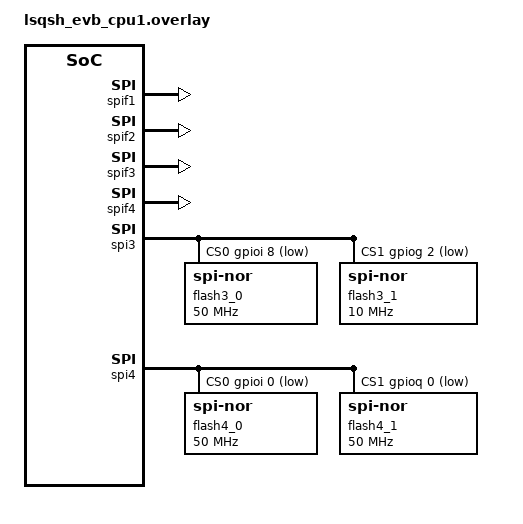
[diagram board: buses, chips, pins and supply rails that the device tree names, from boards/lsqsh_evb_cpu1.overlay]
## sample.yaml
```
sample:
  description: DesignWare SPI RX sample delay calibration on two SPI NOR
    flashes sharing one controller
  name: spi master calibration test
common:
  tags:
    - spi
    - flash
  platform_allow:
    - lsqsh_evb/lsqsh/cpu1
  integration_platforms:
    - lsqsh_evb/lsqsh/cpu1
  harness: console
  harness_config:
    type: multi_line
    ordered: true
    regex:
      - "\\[after spif3 read\\] calib value: slave=0 rx_sample_dly=[0-4]"
      - "\\[after spif4 read\\] calib value: slave=1 rx_sample_dly=[0-4]"
      - "all test pass"
tests:
  sample.drivers.spi.master_cali_test:
    tags:
      - spi
```

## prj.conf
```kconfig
CONFIG_SPI_FILTER_LINKEDSEMI=y
CONFIG_SPI=y
CONFIG_FLASH=y
# CONFIG_LOG_MODE_IMMEDIATE=y
CONFIG_SHELL=n
CONFIG_FLASH_SHELL=y
CONFIG_DMA=y

CONFIG_LOG=y
CONFIG_LOG_BUFFER_SIZE=65536
CONFIG_SHELL_BACKEND_SERIAL_LOG_MESSAGE_QUEUE_SIZE=40960
# CONFIG_LOG=n
# CONFIG_LOG_BUFFER_SIZE=1024
# CONFIG_SHELL_BACKEND_SERIAL_LOG_MESSAGE_QUEUE_SIZE=1024

# CONFIG_LOG_MODE_DEFERRED=n
# CONFIG_LOG_MODE_IMMEDIATE=y

CONFIG_FLASH_JESD216_API=y
CONFIG_SPI_EXTENDED_MODES=y

CONFIG_MAIN_STACK_SIZE=10240

CONFIG_IDLE_STACK_SIZE=512
CONFIG_TEST_EXTRA_STACK_SIZE=1536
CONFIG_SYSTEM_WORKQUEUE_STACK_SIZE=8192
CONFIG_ISR_STACK_SIZE=4096
CONFIG_PRIVILEGED_STACK_SIZE=4096
CONFIG_SHELL_STACK_SIZE=4096
CONFIG_LOG_PROCESS_THREAD_STACK_SIZE=4096

CONFIG_SPI_FILTER_INTERRUPT_LOG=n
CONFIG_SPI_FILTER_DMA_LOG=y

CONFIG_BUILD_OUTPUT_HEX=y#hex

CONFIG_LOG_MODE_DEFERRED=n
CONFIG_LOG_MODE_IMMEDIATE=y
CONFIG_LINKEDSEMI_ZEPHYR_UTIL_CMD_REBOOT=y

CONFIG_HW_STACK_PROTECTION=y
CONFIG_PMP_STACK_GUARD_MIN_SIZE=4096
```

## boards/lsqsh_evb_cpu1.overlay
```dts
#include "lsqsh_pinctrl_pfr_tpm.dtsi"

/ {
    aliases {
#if 1
        spifilter = &spif3;
        spifiltermaster = &spif1;
        //spiflash = &flash3_0;
        spiflash = &flash4_0;//spif3flash
        spifiltermaster2 = &spif4;
        spiflash2 = &flash4_1;//spif4flash
#endif
#if 0
        spifilter = &spif2;
        spifiltermaster = &spif4;
        spiflash = &flash4_1;
#endif
    };
};

&spif1 {
    status = "okay";
};

&spif2 {
    status = "okay";
};

&spif3 {
    cmd-page-program-quad-addr-quad-data =<0xc2>;
    cmd-quad-spi-mode-enter = <0x38>;
    cmd-quad-spi-mode-exit = <0xff>;
    status = "okay";
};

&spif4 {
    cmd-page-program-quad-addr-quad-data =<0xc2>;
    cmd-quad-spi-mode-enter = <0x38>;
    cmd-quad-spi-mode-exit = <0xff>;
    status = "okay";
};

&spi3 {
    cs-gpios = <&gpioi 8 GPIO_ACTIVE_LOW>,
                <&gpiog 2 GPIO_ACTIVE_LOW>;
    pinctrl-0 = <>;
    pinctrl-names = "default";
    //timing-calibration-disabled;
    dmas =<&dmac2 6 DMA_SPI3_RX>,<&dmac2 6 DMA_SPI3_TX>;
    dma-names ="rx","tx";
    status = "okay";

    flash3_0: flash3@0 {
        compatible = "jedec,spi-nor";
        reg = <0>;
        spi-max-frequency = <DT_FREQ_M(50)>;
        spi-max-buswidth = <4>;
        //spi-nor-caps-mask=<0x40000>;
        re-init-support;
    };
    flash3_1: flash3@1 {
        compatible = "jedec,spi-nor";
        reg = <1>;
        spi-max-frequency = <DT_FREQ_M(10)>;
        spi-max-buswidth = <4>;
        re-init-support;
    };
};

&spi4 {
    cs-gpios = <&gpioi 0 GPIO_ACTIVE_LOW>,
                <&gpioq 0 GPIO_ACTIVE_LOW>;
    pinctrl-0 = <>;
    pinctrl-names = "default";
    //timing-calibration-disabled;
    dmas =<&dmac2 6 DMA_SPI4_RX>,<&dmac2 6 DMA_SPI4_TX>;
    dma-names ="rx","tx";
    status = "okay";

    flash4_0: flash4@0 {
        compatible = "jedec,spi-nor";
        reg = <0>;
        spi-max-frequency = <DT_FREQ_M(50)>;
        spi-max-buswidth = <4>;
        re-init-support;
        status = "okay";
    };
    flash4_1: flash4@1 {
        compatible = "jedec,spi-nor";
        reg = <1>;
        spi-max-frequency = <DT_FREQ_M(50)>;
        spi-max-buswidth = <4>;
        re-init-support;
        status = "okay";
    };
};

&dmac1 {
    status = "okay";
};

&dmac2 {
    status = "okay";
};

#if 0
#undef SRAM_TOTAL_SIZE
#undef SRAM_RO_SIZE
#undef SRAM_RW_SIZE

#define SRAM_TOTAL_SIZE DT_SIZE_K(512 - 128)
#define SRAM_RO_SIZE    DT_SIZE_K(256 - 128)
#define SRAM_RW_SIZE    (SRAM_TOTAL_SIZE - SRAM_RO_SIZE)

&sram_ro {
    reg = <0x10020000 SRAM_RO_SIZE>;
};

&sram {
    reg = <(0x10020000 + SRAM_RO_SIZE) SRAM_RW_SIZE>;
};
#endif
```

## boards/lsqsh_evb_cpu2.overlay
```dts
#include "lsqsh_pinctrl_pfr_tpm.dtsi"

/ {
    aliases {
#if 1
        spifilter = &spif3;
        spifiltermaster = &spif1;
        //spiflash = &flash3_0;
        spiflash = &flash4_0;//spif3flash
#endif
#if 0
        spifilter = &spif2;
        spifiltermaster = &spif4;
        spiflash = &flash4_1;
#endif
    };
};

&chosen {
    zephyr,flash-controller = &qspi1;
    zephyr,console = &uart5;
    zephyr,shell-uart = &uart5;
};

&spif1 {
    status = "okay";
};

&spif2 {
    status = "okay";
};

&spif3 {
    cmd-page-program-quad-addr-quad-data =<0xc2>;
    cmd-quad-spi-mode-enter = <0x38>;
    cmd-quad-spi-mode-exit = <0xff>;
    status = "okay";
};

&spif4 {
    cmd-page-program-quad-addr-quad-data =<0xc2>;
    cmd-quad-spi-mode-enter = <0x38>;
    cmd-quad-spi-mode-exit = <0xff>;
    status = "okay";
};

&spi3 {
    cs-gpios = <&gpioi 8 GPIO_ACTIVE_LOW>,
                <&gpiog 2 GPIO_ACTIVE_LOW>;
    pinctrl-0 = <>;
    pinctrl-names = "default";
    //timing-calibration-disabled;
    dmas =<&dmac2 6 DMA_SPI3_RX>,<&dmac2 6 DMA_SPI3_TX>;
    dma-names ="rx","tx";
    status = "okay";

    flash3_0: flash3@0 {
        compatible = "jedec,spi-nor";
        reg = <0>;
        spi-max-frequency = <DT_FREQ_M(50)>;
        spi-max-buswidth = <4>;
        //spi-nor-caps-mask=<0x40000>;
        re-init-support;
    };
    flash3_1: flash3@1 {
        compatible = "jedec,spi-nor";
        reg = <1>;
        spi-max-frequency = <DT_FREQ_M(10)>;
        spi-max-buswidth = <4>;
        re-init-support;
    };
};

&spi4 {
    cs-gpios = <&gpioi 0 GPIO_ACTIVE_LOW>,
                <&gpioq 0 GPIO_ACTIVE_LOW>;
    pinctrl-0 = <>;
    pinctrl-names = "default";
    timing-calibration-disabled;
    dmas =<&dmac2 6 DMA_SPI4_RX>,<&dmac2 6 DMA_SPI4_TX>;
    dma-names ="rx","tx";
    status = "okay";

    flash4_0: flash4@0 {
        compatible = "jedec,spi-nor";
        reg = <0>;
        spi-max-frequency = <DT_FREQ_M(10)>;
        spi-max-buswidth = <4>;
        re-init-support;
    };
    flash4_1: flash4@1 {
        compatible = "jedec,spi-nor";
        reg = <1>;
	spi-max-frequency = <50000>;
        spi-max-buswidth = <4>;
        re-init-support;
    };
};

&dmac1 {
    status = "okay";
};

&dmac2 {
    status = "okay";
};

&pinctrl {
	/omit-if-no-ref/uart4_tx_pd11: uart4_tx_pd11 {
	pinmux = <UART4_TXD_FUNC1_IDX09_PINMUX_PD(11)>;
};

	/omit-if-no-ref/uart4_rx_pd12: uart4_rx_pd12 {
	pinmux = <UART4_RXD_FUNC1_IDX10_PINMUX_PD(12)>;
	input-enable;
};
	/omit-if-no-ref/uart5_tx_pn14: uart5_tx_pn14 {
	pinmux = <UART5_TXD_FUNC4_PN14_PINMUX>;
};
	/omit-if-no-ref/uart5_rx_pn13: uart5_rx_pn13 {
	pinmux = <UART5_RXD_FUNC4_PN13_PINMUX>;
	input-enable;
};

};

&uart4 {
	status = "disabled";
	pinctrl-0 = <&uart4_tx_pd11 &uart4_rx_pd12>;
	pinctrl-names = "default";
};

#if 1
&uart5 {
	status = "okay";
	pinctrl-0 = <&uart5_tx_pn14 &uart5_rx_pn13>;
	pinctrl-names = "default";
};
#endif

#if 0
#undef SRAM_TOTAL_SIZE
#undef SRAM_RO_SIZE
#undef SRAM_RW_SIZE

#define SRAM_TOTAL_SIZE DT_SIZE_K(512 - 128)
#define SRAM_RO_SIZE    DT_SIZE_K(256 - 128)
#define SRAM_RW_SIZE    (SRAM_TOTAL_SIZE - SRAM_RO_SIZE)

&sram_ro {
    reg = <0x10020000 SRAM_RO_SIZE>;
};

&sram {
    reg = <(0x10020000 + SRAM_RO_SIZE) SRAM_RW_SIZE>;
};
#endif
```

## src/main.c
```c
/*
 * Copyright (c) 2024 Linkedsemi
 *
 * SPDX-License-Identifier: Apache-2.0
 */

#include "zephyr/sys/printk.h"
#include "zephyr/sys/util.h"
#include "zephyr/types.h"
#include <stdbool.h>
#include <stdint.h>
#if !defined(CONFIG_SPI_FILTER_LINKEDSEMI)
    #error no CONFIG_SPI_FILTER_LINKEDSEMI define
#endif

#include <zephyr/drivers/spi.h>
#include <zephyr/drivers/spi_nor.h>
#include <zephyr/kernel.h>
#include <stdlib.h>
#include <stdio.h>
#include <zephyr/kernel.h>
#include <zephyr/drivers/spi.h>
#include <zephyr/drivers/flash.h>
#include <zephyr/drivers/spi_dw_api.h>
#include <reg_spi_filter.h>
#include <spi_filter.h>
#include <ls_soc_gpio.h>
#include <zephyr/logging/log.h>
#include <time.h>

LOG_MODULE_REGISTER(spi_monitor_sample, LOG_LEVEL_INF);
extern int spi_nor_config_4byte_mode(const struct device *dev, bool en4b);

#if 0
#include "/home/htliu/zephyr_work/modules/lib/pfr_tpm/drivers/pfr/spi/spi_filter.h"
#else
#define SPIF_LOG_RAM_MAX_SIZE_U32     1024
#endif

#define DELAY_MS(ms) k_msleep(ms)

static uint8_t data_write[16];

static uint8_t data_read[sizeof(data_write)+3]={0};

// static const struct device *const spi_dev = DEVICE_DT_GET(DT_PARENT(DT_ALIAS(spiflash)));

static int log_calib_value(const char *stage, const struct device *spi_dev, uint8_t slave)
{
	struct spi_dw_timing_calib_value value;
	int rc;

	if (!device_is_ready(spi_dev)) {
		LOG_ERR("[%s] SPI device not ready", stage);
		return -1;
	}

	rc = spi_dw_timing_calibration_value(spi_dev, slave, &value);
	if (rc != 0) {
		LOG_ERR("[%s] calib value query failed: %d", stage, rc);
		return -1;
	}

	LOG_INF("[%s] calib value: slave=%u rx_sample_dly=%u",
		stage, slave, value.rx_sample_dly);

	return 0;
}


int  test_spif(void)
{
	do {
		uint8_t id[3] = { 0 };
		const struct device *const flash_dev = DEVICE_DT_GET(DT_ALIAS(spiflash));
		// spi_nor_re_init(flash_dev);
		int rc = flash_read_jedec_id(flash_dev, id);
		DELAY_MS(10);
		if (rc == 0) {

			LOG_INF("jedec-id = [%02x %02x %02x];\n", id[0], id[1], id[2]);
		} else {
		LOG_INF("JEDEC ID read failed: %d\n", rc);
		}
	} while(0);

	return 0;
}

int  test_spifiltermaster2(void)
{
	do {
		uint8_t id[3] = { 0 };
		const struct device *const flash_dev2 = DEVICE_DT_GET(DT_ALIAS(spiflash2));
		// spi_nor_re_init(flash_dev);
		int rc = flash_read_jedec_id(flash_dev2, id);
		DELAY_MS(10);
		if (rc == 0) {

			LOG_INF("jedec-id = [%02x %02x %02x];\n", id[0], id[1], id[2]);
		} else {
		LOG_INF("JEDEC ID read failed: %d\n", rc);
		}
	} while(0);

	return 0;
}

int main(void)
{
	LOG_INF("spi_master_tranceive_start");
	// const struct device *const spifilter = DEVICE_DT_GET(DT_ALIAS(spifilter));
	bool check;
	int re;
	const struct device *const spifiltermaster = DEVICE_DT_GET(DT_ALIAS(spifilter));
	spif_switch_to_master(spifiltermaster);
	check = spif_pinctrl_master_mode_check(spifiltermaster);
	__ASSERT_NO_MSG(check);

	const struct device *const flash_dev = DEVICE_DT_GET(DT_ALIAS(spiflash));
	test_spif();
	log_calib_value("after spif3 jedec", DEVICE_DT_GET(DT_PARENT(DT_ALIAS(spiflash))),
			DT_REG_ADDR(DT_ALIAS(spiflash)));
	re=flash_read(flash_dev, 0x00, data_read, sizeof(data_read));
	if (re != 0) {
		LOG_ERR("flash_read failed");
		return -1;
	}
	for (int i = 0; i < sizeof(data_read); i++) {
		if (i%16==0) {
			LOG_RAW("\n");
		}
		LOG_RAW("%02X ", data_read[i]);// act
	}
	LOG_RAW("\n");
	log_calib_value("after spif3 read", DEVICE_DT_GET(DT_PARENT(DT_ALIAS(spiflash))),
			DT_REG_ADDR(DT_ALIAS(spiflash)));

	/*spif3切成filter*/
	spif_switch_to_filter(spifiltermaster);
	check = spif_pinctrl_filter_mode_check(spifiltermaster);
	__ASSERT_NO_MSG(check);

	const struct device *const spifiltermaster2 = DEVICE_DT_GET(DT_ALIAS(spifiltermaster2));
	spif_switch_to_master(spifiltermaster2);
	check = spif_pinctrl_master_mode_check(spifiltermaster2);
	__ASSERT_NO_MSG(check);

	test_spifiltermaster2();
	log_calib_value("after spif4 jedec", DEVICE_DT_GET(DT_PARENT(DT_ALIAS(spiflash2))),
			DT_REG_ADDR(DT_ALIAS(spiflash2)));

	const struct device *const flash_dev2 = DEVICE_DT_GET(DT_ALIAS(spiflash2));
	re=flash_read(flash_dev2, 0x00, data_read, sizeof(data_read));
	if (re != 0) {
		LOG_ERR("flash_read failed");
		return -1;
	}
	for (int i = 0; i < sizeof(data_read); i++) {
		if (i%16==0) {
			LOG_RAW("\n");
		}
		LOG_RAW("%02X ", data_read[i]);// act
	}
	log_calib_value("after spif4 read", DEVICE_DT_GET(DT_PARENT(DT_ALIAS(spiflash2))),
			DT_REG_ADDR(DT_ALIAS(spiflash2)));
	LOG_INF("all test pass");
	return 0;
}
```
